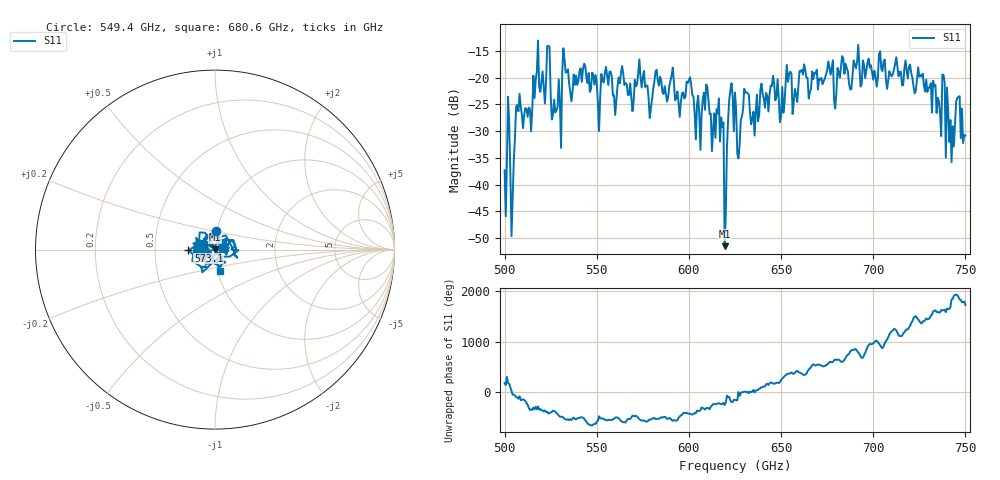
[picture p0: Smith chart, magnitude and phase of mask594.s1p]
!Created with skrf (http://scikit-rf.org).
# GHz S MA R 50.0
!freq magS11 angS11
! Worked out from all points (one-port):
!   401 points, 500 GHz to 750 GHz, reference 50 ohm
!   lowest |S11| = -51.5 dB at 619.4 GHz (marker M1), VSWR 1.01, Z = 49.9 + j0.26 ohm
!   |S11| at or under -10 dB: start of sweep to end of sweep
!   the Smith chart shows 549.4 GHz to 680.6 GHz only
!   S11 on the Smith chart (normalised r, x): 549.4 GHz: 0.99, +0.21; 573.1 GHz: 0.74, -0.01; 680.6 GHz: 1.03, -0.25
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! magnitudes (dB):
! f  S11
! 500 GHz  -37.3
! 501.2 GHz  -35.5
! 504.4 GHz  -42.8
! 507.5 GHz  -26.3
! 513.8 GHz  -25.9
! 516.9 GHz  -20.5
! 523.8 GHz  -14.1
! 526.9 GHz  -24.1
! 531.2 GHz  -19.0
! 549.4 GHz  -19.5
! 562.5 GHz  -21.1
! 573.1 GHz  -16.6
! 593.8 GHz  -22.6
! 609.4 GHz  -21.3
! 617.5 GHz  -27.4
! 619.4 GHz  -51.5
! 622.5 GHz  -22.4
! 625 GHz  -22.8
! 627.5 GHz  -32.6
! 631.2 GHz  -22.8
! 635 GHz  -26.4
! 656.2 GHz  -26.8
! 680.6 GHz  -18.2
! 687.5 GHz  -22.2
! 718.8 GHz  -20.2
! 742.5 GHz  -35.8
! 745.6 GHz  -23.8
! 750 GHz  -30.8
